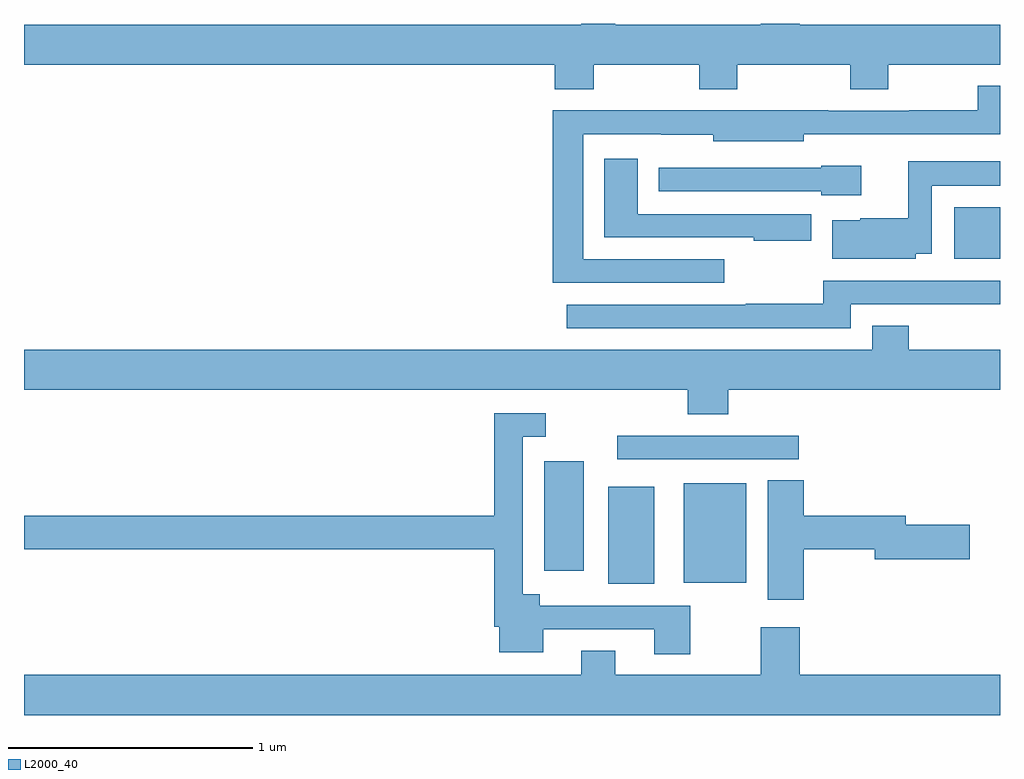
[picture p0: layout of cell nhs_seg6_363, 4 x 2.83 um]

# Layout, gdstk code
import gdstk
lib = gdstk.Library(unit=1e-6, precision=1e-09)
def R(c, l, rs):  # rectangles x0, y0, x1, y1
    for r in rs: c.add(gdstk.rectangle(r[:2], r[2:], *l))
def P(c, l, *ps):  # polygons
    for p in ps: c.add(gdstk.Polygon(p, *l))
L2000_40 = (2000, 40)

nhs_seg6_363 = lib.new_cell('nhs_seg6_363')
R(nhs_seg6_363, L2000_40, [(133.394,949.205,133.582,949.603), (133.703,949.211,133.96,949.618), (133.133,949.26,133.294,949.708), (133.431,949.716,134.176,949.812), (134.813,950.537,135,950.749)])
P(nhs_seg6_363, L2000_40, [(133.335,951.332),(133.768,951.332),(133.768,951.233),(133.923,951.233),(133.923,951.332),(134.386,951.332),(134.386,951.233),(134.541,951.233),(134.541,951.332),(135,951.332),(135,951.496),(134.18,951.496),(134.18,951.5),(134.02,951.5),(134.02,951.496),(133.423,951.496),(133.423,951.5),(133.283,951.5),(133.283,951.496),(131,951.496),(131,951.332),(133.175,951.332),(133.175,951.233),(133.335,951.233)],
  [(133.87,950.535),(133.291,950.535),(133.291,951.048),(133.612,951.048),(133.612,951.047),(133.824,951.047),(133.824,951.02),(134.196,951.02),(134.196,951.048),(135,951.048),(135,951.247),(134.908,951.247),(134.908,951.146),(134.629,951.146),(134.629,951.144),(134.296,951.144),(134.296,951.146),(133.166,951.146),(133.166,950.439),(133.87,950.439)],
  [(134.227,950.721),(133.516,950.721),(133.516,950.947),(133.379,950.947),(133.379,950.625),(133.991,950.625),(133.991,950.612),(134.227,950.612)],
  [(134.655,950.558),(134.721,950.558),(134.721,950.837),(135,950.837),(135,950.938),(134.624,950.938),(134.624,950.704),(134.427,950.704),(134.427,950.695),(134.312,950.695),(134.312,950.537),(134.655,950.537)],
  [(134.431,950.92),(134.268,950.92),(134.268,950.91),(133.601,950.91),(133.601,950.814),(134.268,950.814),(134.268,950.799),(134.431,950.799)],
  [(134.389,950.352),(134.713,950.352),(134.713,950.351),(134.969,950.351),(134.969,950.352),(135,950.352),(135,950.448),(134.275,950.448),(134.275,950.354),(133.957,950.354),(133.957,950.349),(133.224,950.349),(133.224,950.253),(134.389,950.253)],
  [(133.886,950),(135,950),(135,950.164),(134.625,950.164),(134.625,950.263),(134.477,950.263),(134.477,950.164),(131,950.164),(131,950),(133.721,950),(133.721,949.901),(133.886,949.901)],
  [(133.731,949.116),(133.114,949.116),(133.114,949.162),(133.044,949.162),(133.044,949.809),(133.138,949.809),(133.138,949.905),(132.928,949.905),(132.928,949.484),(131,949.484),(131,949.348),(132.928,949.348),(132.928,949.03),(132.947,949.03),(132.947,948.926),(133.129,948.926),(133.129,949.02),(133.583,949.02),(133.583,948.918),(133.731,948.918)],
  [(134.195,949.348),(134.486,949.348),(134.486,949.306),(134.875,949.306),(134.875,949.448),(134.614,949.448),(134.614,949.484),(134.195,949.484),(134.195,949.631),(134.048,949.631),(134.048,949.14),(134.195,949.14)],
  [(135,948.832),(134.18,948.832),(134.18,949.027),(134.02,949.027),(134.02,948.832),(133.423,948.832),(133.423,948.931),(133.283,948.931),(133.283,948.832),(131,948.832),(131,948.668),(135,948.668)])

lib.write_gds('nhs_seg6_363.gds')
